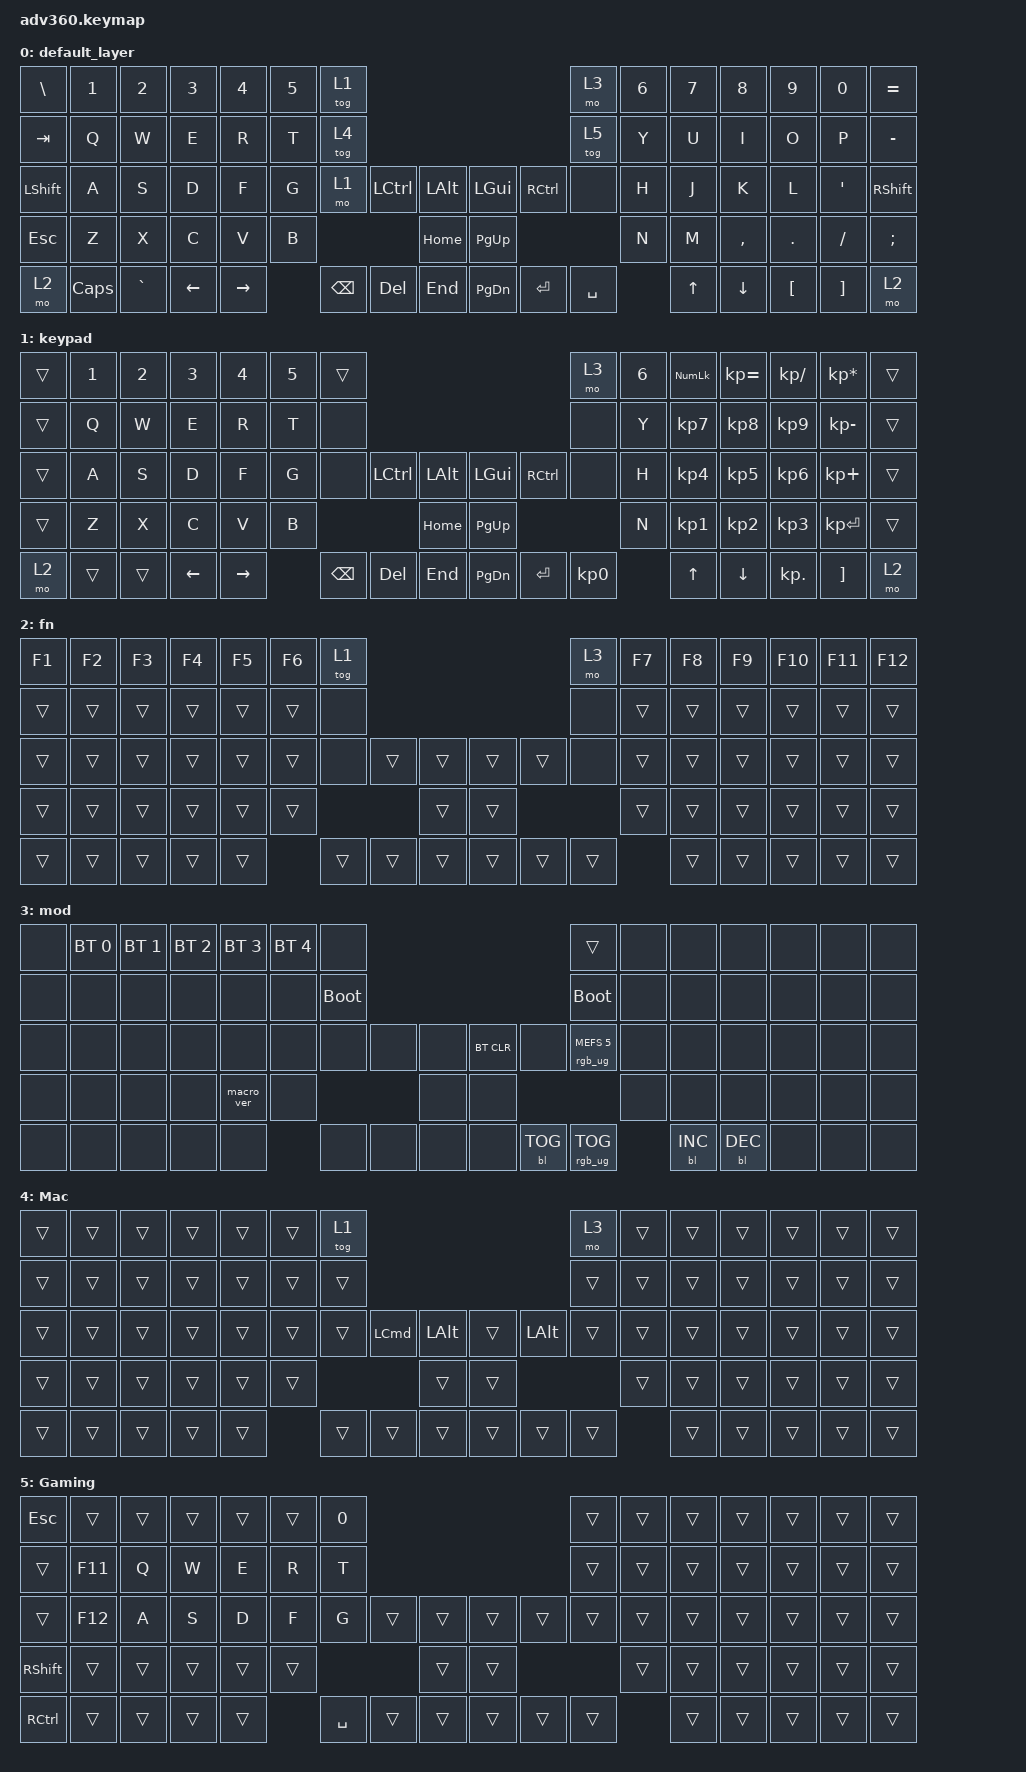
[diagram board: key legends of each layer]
#include <behaviors.dtsi>
#include <dt-bindings/zmk/backlight.h>
#include <dt-bindings/zmk/bt.h>
#include <dt-bindings/zmk/keys.h>
#include <dt-bindings/zmk/rgb.h>

/ {
    behaviors {
        #include "macros.dtsi"
      #include "version.dtsi"
      #ifndef VERSION_MACRO

        macro_ver: macro_ver {
            compatible = "zmk,behavior-macro";
            label = "macro_version";
            #binding-cells = <0>;
            bindings = <&kp RET>;
        };

        #endif

        hm: homerow_mods {
            compatible = "zmk,behavior-hold-tap";
            label = "HOMEROW_MODS";
            #binding-cells = <2>;
            tapping-term-ms = <200>;
            quick_tap_ms = <175>;
            flavor = "tap-preferred";
            bindings = <&kp>, <&kp>;
        };
    };

    macros {
    };

    keymap {
        compatible = "zmk,keymap";

        default_layer {
            bindings = <
&kp BSLH    &kp N1    &kp N2     &kp N3    &kp N4     &kp N5  &tog 1                                                   &mo 3      &kp N6  &kp N7  &kp N8     &kp N9    &kp N0    &kp EQUAL
&kp TAB     &kp Q     &kp W      &kp E     &kp R      &kp T   &tog 4                                                   &tog 5     &kp Y   &kp U   &kp I      &kp O     &kp P     &kp MINUS
&kp LSHIFT  &kp A     &kp S      &kp D     &kp F      &kp G   &mo 1     &kp LCTRL  &kp LALT      &kp LGUI   &kp RCTRL  &none      &kp H   &kp J   &kp K      &kp L     &kp APOS  &kp RSHIFT
&kp ESCAPE  &kp Z     &kp X      &kp C     &kp V      &kp B                        &kp HOME      &kp PG_UP                        &kp N   &kp M   &kp COMMA  &kp DOT   &kp FSLH  &kp SEMI
&mo 2       &kp CLCK  &kp GRAVE  &kp LEFT  &kp RIGHT          &kp BSPC  &kp DEL    &kp END       &kp PG_DN  &kp ENTER  &kp SPACE          &kp UP  &kp DOWN   &kp LBKT  &kp RBKT  &mo 2
            >;
        };

        keypad {
            bindings = <
&trans  &kp N1  &kp N2  &kp N3    &kp N4     &kp N5  &trans                                                   &mo 3      &kp N6  &kp KP_NUM  &kp KP_EQUAL  &kp KP_DIVIDE  &kp KP_MULTIPLY  &trans
&trans  &kp Q   &kp W   &kp E     &kp R      &kp T   &none                                                    &none      &kp Y   &kp KP_N7   &kp KP_N8     &kp KP_N9      &kp KP_MINUS     &trans
&trans  &kp A   &kp S   &kp D     &kp F      &kp G   &none     &kp LCTRL  &kp LALT      &kp LGUI   &kp RCTRL  &none      &kp H   &kp KP_N4   &kp KP_N5     &kp KP_N6      &kp KP_PLUS      &trans
&trans  &kp Z   &kp X   &kp C     &kp V      &kp B                        &kp HOME      &kp PG_UP                        &kp N   &kp KP_N1   &kp KP_N2     &kp KP_N3      &kp KP_ENTER     &trans
&mo 2   &trans  &trans  &kp LEFT  &kp RIGHT          &kp BSPC  &kp DEL    &kp END       &kp PG_DN  &kp ENTER  &kp KP_N0          &kp UP      &kp DOWN      &kp KP_DOT     &kp RBKT         &mo 2
            >;
        };

        fn {
            bindings = <
&kp F1  &kp F2  &kp F3  &kp F4  &kp F5  &kp F6  &tog 1                                      &mo 3   &kp F7  &kp F8  &kp F9  &kp F10  &kp F11  &kp F12
&trans  &trans  &trans  &trans  &trans  &trans  &none                                       &none   &trans  &trans  &trans  &trans   &trans   &trans
&trans  &trans  &trans  &trans  &trans  &trans  &none   &trans  &trans      &trans  &trans  &none   &trans  &trans  &trans  &trans   &trans   &trans
&trans  &trans  &trans  &trans  &trans  &trans                  &trans      &trans                  &trans  &trans  &trans  &trans   &trans   &trans
&trans  &trans  &trans  &trans  &trans          &trans  &trans  &trans      &trans  &trans  &trans          &trans  &trans  &trans   &trans   &trans
            >;
        };

        mod {
            bindings = <
&none  &bt BT_SEL 0  &bt BT_SEL 1  &bt BT_SEL 2  &bt BT_SEL 3  &bt BT_SEL 4  &none                                                  &trans                  &none  &none       &none       &none  &none  &none
&none  &none         &none         &none         &none         &none         &bootloader                                            &bootloader             &none  &none       &none       &none  &none  &none
&none  &none         &none         &none         &none         &none         &none        &none  &none      &bt BT_CLR  &none       &rgb_ug RGB_MEFS_CMD 5  &none  &none       &none       &none  &none  &none
&none  &none         &none         &none         &macro_ver    &none                             &none      &none                                           &none  &none       &none       &none  &none  &none
&none  &none         &none         &none         &none                       &none        &none  &none      &none       &bl BL_TOG  &rgb_ug RGB_TOG                &bl BL_INC  &bl BL_DEC  &none  &none  &none
            >;
        };

        Macos {
            bindings = <
&trans  &trans  &trans  &trans  &trans  &trans  &tog 1                                                    &mo 3   &trans  &trans  &trans  &trans  &trans  &trans
&trans  &trans  &trans  &trans  &trans  &trans  &trans                                                    &trans  &trans  &trans  &trans  &trans  &trans  &trans
&trans  &trans  &trans  &trans  &trans  &trans  &trans  &kp LCMD  &kp LEFT_ALT      &trans  &kp LEFT_ALT  &trans  &trans  &trans  &trans  &trans  &trans  &trans
&trans  &trans  &trans  &trans  &trans  &trans                    &trans            &trans                        &trans  &trans  &trans  &trans  &trans  &trans
&trans  &trans  &trans  &trans  &trans          &trans  &trans    &trans            &trans  &trans        &trans          &trans  &trans  &trans  &trans  &trans
            >;

            label = "Mac";
        };

        Gaming {
            bindings = <
&kp ESCAPE  &trans   &trans  &trans  &trans  &trans  &kp N0                                         &trans  &trans  &trans  &trans  &trans  &trans  &trans
&trans      &kp F11  &kp Q   &kp W   &kp E   &kp R   &kp T                                          &trans  &trans  &trans  &trans  &trans  &trans  &trans
&trans      &kp F12  &kp A   &kp S   &kp D   &kp F   &kp G      &trans  &trans      &trans  &trans  &trans  &trans  &trans  &trans  &trans  &trans  &trans
&kp RSHIFT  &trans   &trans  &trans  &trans  &trans                     &trans      &trans                  &trans  &trans  &trans  &trans  &trans  &trans
&kp RCTRL   &trans   &trans  &trans  &trans          &kp SPACE  &trans  &trans      &trans  &trans  &trans          &trans  &trans  &trans  &trans  &trans
            >;

            label = "Gaming";
        };
    };
};
